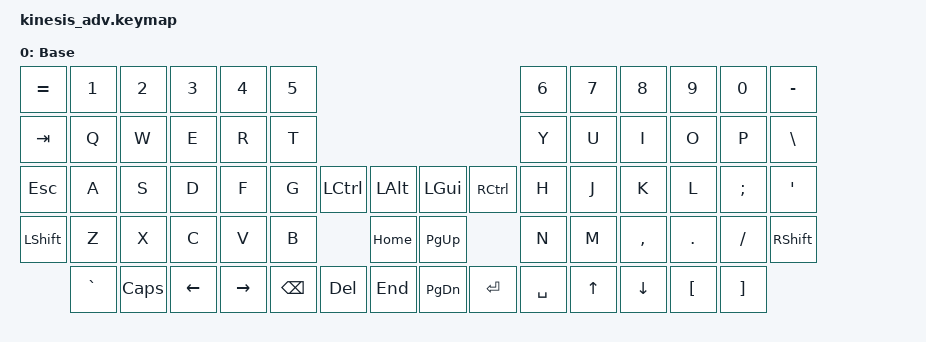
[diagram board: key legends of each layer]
// This file was generated from a template. Edit it to match your keyboard.
// See https://zmk.dev/docs/development/hardware-integration/new-shield for more instructions.

#include <behaviors.dtsi>
#include <dt-bindings/zmk/keys.h>
#include <dt-bindings/zmk/bt.h>

/ {
    // Define a default keymap here.
    // See https://zmk.dev/docs/development/hardware-integration/new-shield#default-keymap.
    keymap {
        compatible = "zmk,keymap";

        default_layer {
            display-name = "Base";
            bindings = <
                &kp EQUAL &kp N1    &kp N2   &kp N3   &kp N4     &kp N5                                                           &kp N6 &kp N7 &kp N8    &kp N9   &kp N0   &kp MINUS
                &kp TAB   &kp Q     &kp W    &kp E    &kp R      &kp T                                                            &kp Y  &kp U  &kp I     &kp O    &kp P    &kp BSLH
                &kp ESC   &kp A     &kp S    &kp D    &kp F      &kp G           &kp LCTRL &kp LALT &kp LGUI  &kp RCTRL           &kp H  &kp J  &kp K     &kp L    &kp SEMI &kp SQT
                &kp LSHFT &kp Z     &kp X    &kp C    &kp V      &kp B                     &kp HOME &kp PG_UP                     &kp N  &kp M  &kp COMMA &kp DOT  &kp FSLH &kp RSHFT
                          &kp GRAVE &kp CAPS &kp LEFT &kp RIGHT         &kp BSPC &kp DEL   &kp END  &kp PG_DN &kp ENTER &kp SPACE        &kp UP &kp DOWN  &kp LBKT &kp RBKT
            >;
	    };
    };
};
